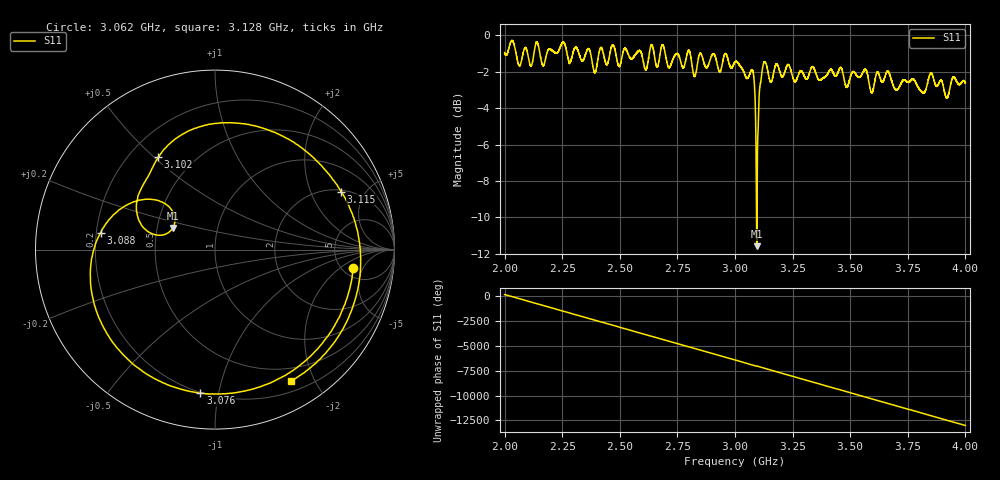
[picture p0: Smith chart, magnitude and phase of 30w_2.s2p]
!Agilent Technologies,E8362B,MY43021131,A.07.50.67
!Agilent E8362B: A.07.50.67
!Date: Thursday, March 14, 2024 13:50:40
!Correction: S11(Off)
!S21(Off)
!S12(Off)
!S22(Off)
!S2P File: Measurements: S11, S21, S12, S22:
# Hz S  RI  R 50
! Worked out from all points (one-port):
!   20001 points, 2 GHz to 4 GHz, reference 50 ohm
!   lowest |S11| = -11.6 dB at 3.094 GHz (marker M1), VSWR 1.72, Z = 30.2 + j7.79 ohm
!   |S11| at or under -10 dB: 3.093225 GHz to 3.095446 GHz (2.221 MHz wide, 0.0718 % of centre)
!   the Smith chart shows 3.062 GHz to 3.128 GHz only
!   S11 on the Smith chart (normalised r, x): 3.062 GHz: 6.30, -3.21; 3.076 GHz: 0.20, -0.88; 3.088 GHz: 0.22, +0.07; 3.102 GHz: 0.32, +0.52; 3.115 GHz: 2.08, +3.35; 3.128 GHz: 0.33, -1.69
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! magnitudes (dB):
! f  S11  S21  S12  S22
! 2 GHz  -0.9  -  -  -
! 2.333 GHz  -1.3  -  -  -
! 2.667 GHz  -1.6  -  -  -
! 2.686 GHz  -0.5  -  -  -
! 3 GHz  -1.4  -  -  -
! 3.062 GHz  -2.2  -  -  -
! 3.076 GHz  -1.9  -  -  -
! 3.088 GHz  -3.8  -  -  -
! 3.094 GHz  -11.6  -  -  -
! 3.102 GHz  -4.4  -  -  -
! 3.115 GHz  -2.2  -  -  -
! 3.128 GHz  -1.4  -  -  -
! 3.155 GHz  -2.6  -  -  -
! 3.333 GHz  -1.7  -  -  -
! 3.485 GHz  -2.8  -  -  -
! 3.565 GHz  -1.9  -  -  -
! 3.593 GHz  -3.1  -  -  -
! 3.667 GHz  -2.0  -  -  -
! 3.816 GHz  -3.2  -  -  -
! 3.852 GHz  -2.1  -  -  -
! 3.919 GHz  -3.4  -  -  -
! 4 GHz  -2.6  -  -  -
